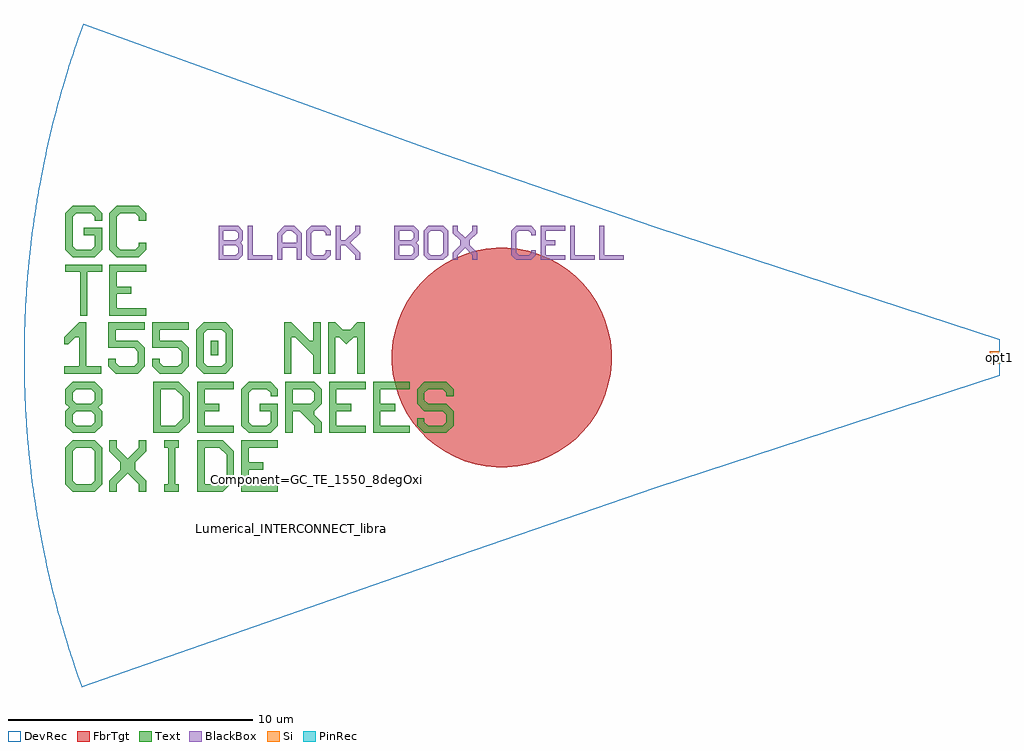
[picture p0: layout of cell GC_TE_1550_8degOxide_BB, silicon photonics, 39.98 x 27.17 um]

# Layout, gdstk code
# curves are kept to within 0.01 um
import gdstk
lib = gdstk.Library(unit=1e-6, precision=1e-09)
def R(c, l, rs):  # rectangles x0, y0, x1, y1
    for r in rs: c.add(gdstk.rectangle(r[:2], r[2:], *l))
def P(c, l, *ps):  # polygons
    for p in ps: c.add(gdstk.Polygon(p, *l))
Si = (1, 0)
PinRec = (1, 10)
Text = (10, 0)
DevRec = (68, 0)
FbrTgt = (81, 0)
BlackBox = (998, 0)

text = lib.new_cell('TEXT')
P(text, BlackBox, [(0,0),(0,1.4),(0.8,1.4),(1,1.2),(0.2,1.2),(0.2,0.8),(0.7,0.8),(0.8,0.9),(0.8,1.1),(0.7,1.2),(1,1.2),(1,0.8),(0.9,0.7),(1,0.6),(0.2,0.6),(0.2,0.2),(0.7,0.2),(0.8,0.3),(0.8,0.5),(0.7,0.6),(1,0.6),(1,0.2),(0.8,0)],
  [(1.2,0),(1.2,1.4),(1.4,1.4),(1.4,0.2),(2.2,0.2),(2.2,0)],
  [(2.4,0),(2.4,1.1),(2.7,1.4),(3.1,1.4),(3.3,1.2),(2.8,1.2),(2.6,1),(2.6,0.7),(3.2,0.7),(3.2,1),(3,1.2),(3.3,1.2),(3.4,1.1),(3.4,0),(3.2,0),(3.2,0.5),(2.6,0.5),(2.6,0)],
  [(3.8,0),(3.6,0.2),(3.6,1.2),(3.8,1.4),(4.4,1.4),(4.6,1.2),(4.6,1),(4.4,1),(4.4,1.1),(4.3,1.2),(3.9,1.2),(3.8,1.1),(3.8,0.3),(3.9,0.2),(4.3,0.2),(4.4,0.3),(4.4,0.4),(4.6,0.4),(4.6,0.2),(4.4,0)],
  [(4.8,0),(4.8,1.4),(5,1.4),(5,0.8),(5.2,0.8),(5.6,1.2),(5.6,1.4),(5.8,1.4),(5.8,1.1),(5.4,0.7),(5.8,0.3),(5.8,0),(5.6,0),(5.6,0.2),(5.2,0.6),(5,0.6),(5,0)],
  [(7.2,0),(7.2,1.4),(8,1.4),(8.2,1.2),(7.4,1.2),(7.4,0.8),(7.9,0.8),(8,0.9),(8,1.1),(7.9,1.2),(8.2,1.2),(8.2,0.8),(8.1,0.7),(8.2,0.6),(7.4,0.6),(7.4,0.2),(7.9,0.2),(8,0.3),(8,0.5),(7.9,0.6),(8.2,0.6),(8.2,0.2),(8,0)],
  [(8.6,0),(8.4,0.2),(8.4,1.2),(8.6,1.4),(9.2,1.4),(9.4,1.2),(9.4,0.7),(9.2,0.7),(9.2,1.1),(9.1,1.2),(8.7,1.2),(8.6,1.1),(8.6,0.3),(8.7,0.2),(9.1,0.2),(9.2,0.3),(9.2,0.7),(9.4,0.7),(9.4,0.2),(9.2,0)],
  [(9.6,0),(9.6,0.3),(9.9,0.6),(9.9,0.8),(9.6,1.1),(9.6,1.4),(9.8,1.4),(9.8,1.2),(10.1,0.9),(10.4,1.2),(10.4,1.4),(10.6,1.4),(10.6,1.1),(10.3,0.8),(10.3,0.6),(10.6,0.3),(10.6,0),(10.4,0),(10.4,0.2),(10.1,0.5),(9.8,0.2),(9.8,0)],
  [(12.2,0),(12,0.2),(12,1.2),(12.2,1.4),(12.8,1.4),(13,1.2),(13,1),(12.8,1),(12.8,1.1),(12.7,1.2),(12.3,1.2),(12.2,1.1),(12.2,0.3),(12.3,0.2),(12.7,0.2),(12.8,0.3),(12.8,0.4),(13,0.4),(13,0.2),(12.8,0)],
  [(13.2,0),(13.2,1.4),(14.2,1.4),(14.2,1.2),(13.4,1.2),(13.4,0.8),(13.8,0.8),(13.8,0.6),(13.4,0.6),(13.4,0.2),(14.2,0.2),(14.2,0)],
  [(14.4,0),(14.4,1.4),(14.6,1.4),(14.6,0.2),(15.4,0.2),(15.4,0)],
  [(15.6,0),(15.6,1.4),(15.8,1.4),(15.8,0.2),(16.6,0.2),(16.6,0)])

gc_te_1550_8degoxide_bb = lib.new_cell('GC_TE_1550_8degOxide_BB')
R(gc_te_1550_8degoxide_bb, Si, [(-0.4,-0.25,0,0.25)])
R(gc_te_1550_8degoxide_bb, Text, [(-32.313,0.092,-32.013,0.692)])
P(gc_te_1550_8degoxide_bb, Text, [(-37.67,1.71),(-37.67,3.51),(-38.27,3.51),(-38.27,3.81),(-36.77,3.81),(-36.77,3.51),(-37.37,3.51),(-37.37,1.71)],
  [(-37.97,-5.49),(-38.27,-5.19),(-38.27,-3.69),(-37.97,-3.39),(-37.07,-3.39),(-36.77,-3.69),(-36.77,-4.44),(-37.07,-4.44),(-37.07,-3.84),(-37.22,-3.69),(-37.82,-3.69),(-37.97,-3.84),(-37.97,-5.04),(-37.82,-5.19),(-37.22,-5.19),(-37.07,-5.04),(-37.07,-4.44),(-36.77,-4.44),(-36.77,-5.19),(-37.07,-5.49)],
  [(-31.07,-5.49),(-31.07,-3.39),(-29.57,-3.39),(-29.57,-3.69),(-30.77,-3.69),(-30.77,-4.29),(-30.17,-4.29),(-30.17,-4.59),(-30.77,-4.59),(-30.77,-5.19),(-29.57,-5.19),(-29.57,-5.49)],
  [(-32.87,-3.09),(-32.87,-0.99),(-31.37,-0.99),(-31.37,-1.29),(-32.57,-1.29),(-32.57,-1.89),(-31.97,-1.89),(-31.97,-2.19),(-32.57,-2.19),(-32.57,-2.79),(-31.37,-2.79),(-31.37,-3.09)],
  [(-27.47,-3.09),(-27.47,-0.99),(-25.97,-0.99),(-25.97,-1.29),(-27.17,-1.29),(-27.17,-1.89),(-26.57,-1.89),(-26.57,-2.19),(-27.17,-2.19),(-27.17,-2.79),(-25.97,-2.79),(-25.97,-3.09)],
  [(-25.67,-3.09),(-25.67,-0.99),(-24.17,-0.99),(-24.17,-1.29),(-25.37,-1.29),(-25.37,-1.89),(-24.77,-1.89),(-24.77,-2.19),(-25.37,-2.19),(-25.37,-2.79),(-24.17,-2.79),(-24.17,-3.09)],
  [(-36.47,1.71),(-36.47,3.81),(-34.97,3.81),(-34.97,3.51),(-36.17,3.51),(-36.17,2.91),(-35.57,2.91),(-35.57,2.61),(-36.17,2.61),(-36.17,2.01),(-34.97,2.01),(-34.97,1.71)],
  [(-29.313,-0.658),(-29.313,1.442),(-29.013,1.442),(-28.263,0.692),(-28.113,0.692),(-28.113,1.442),(-27.813,1.442),(-27.813,-0.658),(-28.113,-0.658),(-28.113,0.092),(-28.863,0.842),(-29.013,0.842),(-29.013,-0.658)],
  [(-34.22,-5.49),(-34.22,-5.19),(-34.07,-5.19),(-34.07,-3.69),(-34.22,-3.69),(-34.22,-3.39),(-33.62,-3.39),(-33.62,-3.69),(-33.77,-3.69),(-33.77,-5.19),(-33.62,-5.19),(-33.62,-5.49)],
  [(-36.17,4.11),(-36.47,4.41),(-36.47,5.91),(-36.17,6.21),(-35.27,6.21),(-34.97,5.91),(-34.97,5.61),(-35.27,5.61),(-35.27,5.76),(-35.42,5.91),(-36.02,5.91),(-36.17,5.76),(-36.17,4.56),(-36.02,4.41),(-35.42,4.41),(-35.27,4.56),(-35.27,4.71),(-34.97,4.71),(-34.97,4.41),(-35.27,4.11)],
  [(-27.513,-0.658),(-27.513,1.442),(-27.213,1.442),(-26.913,1.142),(-26.613,1.142),(-26.313,1.442),(-26.013,1.442),(-26.013,-0.658),(-26.313,-0.658),(-26.313,0.842),(-26.463,0.842),(-26.763,0.542),(-27.063,0.842),(-27.213,0.842),(-27.213,-0.658)],
  [(-32.613,-0.658),(-32.913,-0.358),(-32.913,1.142),(-32.613,1.442),(-31.713,1.442),(-31.413,1.142),(-32.463,1.142),(-32.613,0.992),(-32.613,-0.208),(-32.463,-0.358),(-31.863,-0.358),(-31.713,-0.208),(-31.713,0.992),(-31.863,1.142),(-31.413,1.142),(-31.413,-0.358),(-31.713,-0.658)],
  [(-32.87,-5.49),(-32.87,-3.39),(-31.82,-3.39),(-31.52,-3.69),(-32.57,-3.69),(-32.57,-5.19),(-31.97,-5.19),(-31.67,-4.89),(-31.67,-3.99),(-31.97,-3.69),(-31.52,-3.69),(-31.37,-3.84),(-31.37,-5.04),(-31.82,-5.49)],
  [(-34.67,-3.09),(-34.67,-0.99),(-33.62,-0.99),(-33.32,-1.29),(-34.37,-1.29),(-34.37,-2.79),(-33.77,-2.79),(-33.47,-2.49),(-33.47,-1.59),(-33.77,-1.29),(-33.32,-1.29),(-33.17,-1.44),(-33.17,-2.64),(-33.62,-3.09)],
  [(-23.57,-3.09),(-23.87,-2.79),(-23.87,-2.49),(-23.57,-2.49),(-23.57,-2.64),(-23.42,-2.79),(-22.82,-2.79),(-22.67,-2.64),(-22.67,-2.34),(-22.82,-2.19),(-23.57,-2.19),(-23.87,-1.89),(-23.87,-1.29),(-23.57,-0.99),(-22.67,-0.99),(-22.37,-1.29),(-22.37,-1.59),(-22.67,-1.59),(-22.67,-1.44),(-22.82,-1.29),(-23.42,-1.29),(-23.57,-1.44),(-23.57,-1.74),(-23.42,-1.89),(-22.67,-1.89),(-22.37,-2.19),(-22.37,-2.79),(-22.67,-3.09)],
  [(-36.213,-0.658),(-36.513,-0.358),(-36.513,-0.058),(-36.213,-0.058),(-36.213,-0.208),(-36.063,-0.358),(-35.463,-0.358),(-35.313,-0.208),(-35.313,0.242),(-35.463,0.392),(-36.513,0.392),(-36.513,1.442),(-35.013,1.442),(-35.013,1.142),(-36.213,1.142),(-36.213,0.692),(-35.313,0.692),(-35.013,0.392),(-35.013,-0.358),(-35.313,-0.658)],
  [(-34.413,-0.658),(-34.713,-0.358),(-34.713,-0.058),(-34.413,-0.058),(-34.413,-0.208),(-34.263,-0.358),(-33.663,-0.358),(-33.513,-0.208),(-33.513,0.242),(-33.663,0.392),(-34.713,0.392),(-34.713,1.442),(-33.213,1.442),(-33.213,1.142),(-34.413,1.142),(-34.413,0.692),(-33.513,0.692),(-33.213,0.392),(-33.213,-0.358),(-33.513,-0.658)],
  [(-37.97,-3.09),(-38.27,-2.79),(-38.27,-2.19),(-38.12,-2.04),(-38.27,-1.89),(-38.27,-1.29),(-37.97,-0.99),(-37.07,-0.99),(-36.77,-1.29),(-37.82,-1.29),(-37.97,-1.44),(-37.97,-1.74),(-37.82,-1.89),(-37.22,-1.89),(-37.07,-1.74),(-37.07,-1.44),(-37.22,-1.29),(-36.77,-1.29),(-36.77,-1.89),(-36.92,-2.04),(-36.77,-2.19),(-37.82,-2.19),(-37.97,-2.34),(-37.97,-2.64),(-37.82,-2.79),(-37.22,-2.79),(-37.07,-2.64),(-37.07,-2.34),(-37.22,-2.19),(-36.77,-2.19),(-36.77,-2.79),(-37.07,-3.09)],
  [(-38.313,-0.658),(-38.313,-0.358),(-37.713,-0.358),(-37.713,0.842),(-37.863,0.842),(-38.163,0.542),(-38.313,0.542),(-38.313,0.842),(-37.713,1.442),(-37.413,1.442),(-37.413,-0.358),(-36.813,-0.358),(-36.813,-0.658)],
  [(-36.47,-5.49),(-36.47,-5.04),(-36.02,-4.59),(-36.02,-4.29),(-36.47,-3.84),(-36.47,-3.39),(-36.17,-3.39),(-36.17,-3.69),(-35.72,-4.14),(-35.27,-3.69),(-35.27,-3.39),(-34.97,-3.39),(-34.97,-3.84),(-35.42,-4.29),(-35.42,-4.59),(-34.97,-5.04),(-34.97,-5.49),(-35.27,-5.49),(-35.27,-5.19),(-35.72,-4.74),(-36.17,-5.19),(-36.17,-5.49)],
  [(-30.77,-3.09),(-31.07,-2.79),(-31.07,-1.29),(-30.77,-0.99),(-29.87,-0.99),(-29.57,-1.29),(-29.57,-1.59),(-29.87,-1.59),(-29.87,-1.44),(-30.02,-1.29),(-30.62,-1.29),(-30.77,-1.44),(-30.77,-2.64),(-30.62,-2.79),(-30.02,-2.79),(-29.87,-2.64),(-29.87,-2.19),(-30.32,-2.19),(-30.32,-1.89),(-29.57,-1.89),(-29.57,-2.79),(-29.87,-3.09)],
  [(-37.97,4.11),(-38.27,4.41),(-38.27,5.91),(-37.97,6.21),(-37.07,6.21),(-36.77,5.91),(-36.77,5.61),(-37.07,5.61),(-37.07,5.76),(-37.22,5.91),(-37.82,5.91),(-37.97,5.76),(-37.97,4.56),(-37.82,4.41),(-37.22,4.41),(-37.07,4.56),(-37.07,5.01),(-37.52,5.01),(-37.52,5.31),(-36.77,5.31),(-36.77,4.41),(-37.07,4.11)],
  [(-29.27,-3.09),(-29.27,-0.99),(-28.07,-0.99),(-27.77,-1.29),(-28.97,-1.29),(-28.97,-1.89),(-28.22,-1.89),(-28.07,-1.74),(-28.07,-1.44),(-28.22,-1.29),(-27.77,-1.29),(-27.77,-1.89),(-28.07,-2.19),(-28.07,-2.34),(-27.77,-2.64),(-27.77,-3.09),(-28.07,-3.09),(-28.07,-2.79),(-28.67,-2.19),(-28.97,-2.19),(-28.97,-3.09)])
P(gc_te_1550_8degoxide_bb, DevRec, [(-37.607,-13.5),(-38.153,-11.879),(-38.627,-10.245),(-39.011,-8.679),(-39.378,-6.832),(-39.536,-5.858),(-39.647,-5.058),(-39.835,-3.274),(-39.935,-1.661),(-39.962,-0.763),(-39.969,0.224),(-39.923,1.929),(-39.812,3.541),(-39.712,4.523),(-39.599,5.414),(-39.331,7.097),(-39.011,8.679),(-38.805,9.551),(-38.557,10.505),(-38.045,12.22),(-37.546,13.669),(-22.8,8.353),(-14.109,5.36),(0,0.75),(0,-0.75),(-14.109,-5.36),(-22.796,-8.351)])
P(gc_te_1550_8degoxide_bb, FbrTgt, [(-20.621,-4.5),(-21.061,-4.457),(-21.495,-4.37),(-21.918,-4.242),(-22.326,-4.073),(-22.716,-3.864),(-23.084,-3.619),(-23.426,-3.338),(-23.738,-3.026),(-24.019,-2.684),(-24.264,-2.316),(-24.473,-1.926),(-24.642,-1.518),(-24.77,-1.095),(-24.857,-0.661),(-24.9,-0.221),(-24.9,0.221),(-24.857,0.661),(-24.77,1.095),(-24.642,1.518),(-24.473,1.926),(-24.264,2.316),(-24.019,2.684),(-23.738,3.026),(-23.426,3.338),(-23.084,3.619),(-22.716,3.864),(-22.326,4.073),(-21.918,4.242),(-21.495,4.37),(-21.061,4.457),(-20.621,4.5),(-20.179,4.5),(-19.739,4.457),(-19.305,4.37),(-18.882,4.242),(-18.474,4.073),(-18.084,3.864),(-17.716,3.619),(-17.374,3.338),(-17.062,3.026),(-16.781,2.684),(-16.536,2.316),(-16.327,1.926),(-16.158,1.518),(-16.03,1.095),(-15.943,0.661),(-15.9,0.221),(-15.9,-0.221),(-15.943,-0.661),(-16.03,-1.095),(-16.158,-1.518),(-16.327,-1.926),(-16.536,-2.316),(-16.781,-2.684),(-17.062,-3.026),(-17.374,-3.338),(-17.716,-3.619),(-18.084,-3.864),(-18.474,-4.073),(-18.882,-4.242),(-19.305,-4.37),(-19.739,-4.457),(-20.179,-4.5)])
gc_te_1550_8degoxide_bb.add(gdstk.FlexPath([(-0.01,0),(0.01,0)], 0.5, ends="flush", simple_path=True, layer=1, datatype=10))  # PinRec
gc_te_1550_8degoxide_bb.add(gdstk.Reference(text, (-32,4)))
gc_te_1550_8degoxide_bb.add(gdstk.Label('Lumerical_INTERCONNECT_library=Design kits/ebeam', (-29,-7), layer=68, texttype=0))
gc_te_1550_8degoxide_bb.add(gdstk.Label('Component=GC_TE_1550_8degOxide_BB', (-28,-5), layer=68, texttype=0))
gc_te_1550_8degoxide_bb.add(gdstk.Label('opt1', (0,0), layer=1, texttype=10))

lib.write_gds('GC_TE_1550_8degOxide_BB.gds')
